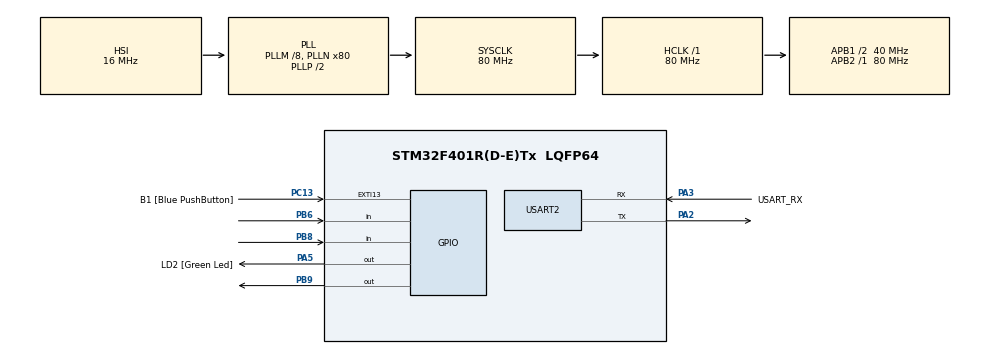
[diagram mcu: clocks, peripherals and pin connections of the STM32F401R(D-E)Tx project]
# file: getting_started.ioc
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Mcu.Family=STM32F4
Mcu.Name=STM32F401R(D-E)Tx
Mcu.Package=LQFP64
NVIC.EXTI15_10_IRQn=true\:0\:0\:false\:false\:true\:true\:true\:true
NVIC.PriorityGroup=NVIC_PRIORITYGROUP_0
PA13.GPIO_Label=TMS
PA13.Mode=Serial_Wire
PA13.Signal=SYS_JTMS-SWDIO
PA14.GPIO_Label=TCK
PA14.Mode=Serial_Wire
PA14.Signal=SYS_JTCK-SWCLK
PA2.Mode=Asynchronous
PA2.Signal=USART2_TX
PA3.GPIO_Label=USART_RX
PA3.GPIO_Mode=GPIO_MODE_AF_PP
PA3.GPIO_PuPd=GPIO_NOPULL
PA3.GPIO_Speed=GPIO_SPEED_FREQ_LOW
PA3.Mode=Asynchronous
PA3.Signal=USART2_RX
PA5.GPIO_Label=LD2 [Green Led]
PA5.GPIO_Mode=GPIO_MODE_OUTPUT_PP
PA5.GPIO_PuPd=GPIO_NOPULL
PA5.GPIO_Speed=GPIO_SPEED_FREQ_LOW
PA5.Signal=GPIO_Output
PB3.GPIO_Label=SWO
PB3.Signal=SYS_JTDO-SWO
PB6.GPIO_PuPd=GPIO_PULLDOWN
PB6.Signal=GPIO_Input
PB8.GPIO_PuPd=GPIO_PULLDOWN
PB8.Signal=GPIO_Input
PB9.Signal=GPIO_Output
PC13-ANTI_TAMP.GPIO_Label=B1 [Blue PushButton]
PC13-ANTI_TAMP.GPIO_ModeDefaultEXTI=GPIO_MODE_IT_FALLING
PC13-ANTI_TAMP.GPIO_PuPd=GPIO_NOPULL
PC13-ANTI_TAMP.Signal=GPXTI13
PC14-OSC32_IN.Mode=LSE-External-Oscillator
PC14-OSC32_IN.Signal=RCC_OSC32_IN
PC15-OSC32_OUT.Mode=LSE-External-Oscillator
PC15-OSC32_OUT.Signal=RCC_OSC32_OUT
PH0\ -\ OSC_IN.Mode=HSE-External-Clock-Source
PH0\ -\ OSC_IN.Signal=RCC_OSC_IN
PH1\ -\ OSC_OUT.Mode=HSE-External-Clock-Source
PH1\ -\ OSC_OUT.Signal=RCC_OSC_OUT
ProjectManager.HeapSize=0x200
ProjectManager.StackSize=0x400
ProjectManager.TargetToolchain=STM32CubeIDE
RCC.48MHZClocksFreq_Value=22857142.85714286
RCC.AHBFreq_Value=80000000
RCC.APB1CLKDivider=RCC_HCLK_DIV2
RCC.APB1Freq_Value=40000000
RCC.APB1TimFreq_Value=80000000
RCC.APB2Freq_Value=80000000
RCC.APB2TimFreq_Value=80000000
RCC.CortexFreq_Value=80000000
RCC.HCLKFreq_Value=80000000
RCC.HSE_VALUE=8000000
RCC.HSI_VALUE=16000000
RCC.PLLM=8
RCC.PLLN=80
RCC.PLLQ=7
RCC.SYSCLKFreq_VALUE=80000000
RCC.SYSCLKSource=RCC_SYSCLKSOURCE_PLLCLK
RCC.VCOOutputFreq_Value=160000000
USART2.VirtualMode=VM_ASYNC
board=NUCLEO-F401RE

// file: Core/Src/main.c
/* USER CODE BEGIN Header */
/**
  ******************************************************************************
  * @file           : main.c
  * @brief          : Main program body
  ******************************************************************************
  * @attention
  *
  * Copyright (c) 2024 STMicroelectronics.
  * All rights reserved.
  *
  * This software is licensed under terms that can be found in the LICENSE file
  * in the root directory of this software component.
  * If no LICENSE file comes with this software, it is provided AS-IS.
  *
  ******************************************************************************
  */
/* USER CODE END Header */
#include "main.h"

/* USER CODE BEGIN PTD */
#define PUTCHAR_PROTOTYPE int __io_putchar(int ch)
/* USER CODE END PTD */

/* USER CODE BEGIN PD */
#define NUM_OF_TASKS 3
/* USER CODE END PD */

UART_HandleTypeDef huart2;

void SystemClock_Config(void);
static void MX_GPIO_Init(void);
static void MX_USART2_UART_Init(void);

int main(void)
{

  /* USER CODE BEGIN 1 */

	GPIO_PinState state;
	uint8_t X = 0;

  /* USER CODE END 1 */

  /* MCU Configuration--------------------------------------------------------*/

  /* Reset of all peripherals, Initializes the Flash interface and the Systick. */
  HAL_Init();

  /* Configure the system clock */
  SystemClock_Config();

  /* Initialize all configured peripherals */
  MX_GPIO_Init();
  MX_USART2_UART_Init();
  /* USER CODE BEGIN 2 */

//  uint8_t task_delay[NUM_OF_TASKS] = {5000, 10000, 15000};
//  uint8_t task_last_run[NUM_OF_TASKS] = {0, 0, HAL_GetTick() + 2000};

  /* USER CODE END 2 */

  /* Infinite loop */
  /* USER CODE BEGIN WHILE */

  uint8_t flag = 0;
  while (1)
  {
	  printf("Hello World! %u \r\n", X);

	  if (HAL_GPIO_ReadPin(GPIOB, GPIO_PIN_8)) {
		  flag = 1;
		  printf("PIN 8 Down\r\n");
	  }
	  if (HAL_GPIO_ReadPin(GPIOB, GPIO_PIN_6)) {
		  flag = 0;
		  printf("PIN 6 Down\r\n");
	  }

	  if (flag) {
		  HAL_GPIO_WritePin(GPIOB, GPIO_PIN_9, GPIO_PIN_SET);
	  } else {
		  HAL_GPIO_WritePin(GPIOB, GPIO_PIN_9, GPIO_PIN_RESET);
	  }

//
//	  HAL_GPIO_WritePin(GPIOA, GPIO_PIN_5, GPIO_PIN_SET);
//	  HAL_Delay(500);
//	  HAL_GPIO_WritePin(GPIOA, GPIO_PIN_5, GPIO_PIN_RESET);
//	  HAL_Delay(500);
//
//	  HAL_Delay(1000);
//	  X++;
    /* USER CODE END WHILE */

  }
}

void SystemClock_Config(void)
{
  RCC_OscInitTypeDef RCC_OscInitStruct = {0};
  RCC_ClkInitTypeDef RCC_ClkInitStruct = {0};

  /** Configure the main internal regulator output voltage
  */
  __HAL_RCC_PWR_CLK_ENABLE();
  __HAL_PWR_VOLTAGESCALING_CONFIG(PWR_REGULATOR_VOLTAGE_SCALE2);

  /** Initializes the RCC Oscillators according to the specified parameters
  * in the RCC_OscInitTypeDef structure.
  */
  RCC_OscInitStruct.OscillatorType = RCC_OSCILLATORTYPE_HSI;
  RCC_OscInitStruct.HSIState = RCC_HSI_ON;
  RCC_OscInitStruct.HSICalibrationValue = RCC_HSICALIBRATION_DEFAULT;
  RCC_OscInitStruct.PLL.PLLState = RCC_PLL_ON;
  RCC_OscInitStruct.PLL.PLLSource = RCC_PLLSOURCE_HSI;
  RCC_OscInitStruct.PLL.PLLM = 8;
  RCC_OscInitStruct.PLL.PLLN = 80;
  RCC_OscInitStruct.PLL.PLLP = RCC_PLLP_DIV2;
  RCC_OscInitStruct.PLL.PLLQ = 7;
  if (HAL_RCC_OscConfig(&RCC_OscInitStruct) != HAL_OK)
  {
    Error_Handler();
  }

  /** Initializes the CPU, AHB and APB buses clocks
  */
  RCC_ClkInitStruct.ClockType = RCC_CLOCKTYPE_HCLK|RCC_CLOCKTYPE_SYSCLK
                              |RCC_CLOCKTYPE_PCLK1|RCC_CLOCKTYPE_PCLK2;
  RCC_ClkInitStruct.SYSCLKSource = RCC_SYSCLKSOURCE_PLLCLK;
  RCC_ClkInitStruct.AHBCLKDivider = RCC_SYSCLK_DIV1;
  RCC_ClkInitStruct.APB1CLKDivider = RCC_HCLK_DIV2;
  RCC_ClkInitStruct.APB2CLKDivider = RCC_HCLK_DIV1;

  if (HAL_RCC_ClockConfig(&RCC_ClkInitStruct, FLASH_LATENCY_2) != HAL_OK)
  {
    Error_Handler();
  }
}

static void MX_USART2_UART_Init(void)
{

  huart2.Instance = USART2;
  huart2.Init.BaudRate = 115200;
  huart2.Init.WordLength = UART_WORDLENGTH_8B;
  huart2.Init.StopBits = UART_STOPBITS_1;
  huart2.Init.Parity = UART_PARITY_NONE;
  huart2.Init.Mode = UART_MODE_TX_RX;
  huart2.Init.HwFlowCtl = UART_HWCONTROL_NONE;
  huart2.Init.OverSampling = UART_OVERSAMPLING_16;
  if (HAL_UART_Init(&huart2) != HAL_OK)
  {
    Error_Handler();
  }

}

static void MX_GPIO_Init(void)
{
  GPIO_InitTypeDef GPIO_InitStruct = {0};

  /* GPIO Ports Clock Enable */
  __HAL_RCC_GPIOC_CLK_ENABLE();
  __HAL_RCC_GPIOH_CLK_ENABLE();
  __HAL_RCC_GPIOA_CLK_ENABLE();
  __HAL_RCC_GPIOB_CLK_ENABLE();

  /*Configure GPIO pin Output Level */
  HAL_GPIO_WritePin(LD2_GPIO_Port, LD2_Pin, GPIO_PIN_RESET);

  /*Configure GPIO pin Output Level */
  HAL_GPIO_WritePin(GPIOB, GPIO_PIN_9, GPIO_PIN_RESET);

  /*Configure GPIO pin : B1_Pin */
  GPIO_InitStruct.Pin = B1_Pin;
  GPIO_InitStruct.Mode = GPIO_MODE_IT_FALLING;
  GPIO_InitStruct.Pull = GPIO_NOPULL;
  HAL_GPIO_Init(B1_GPIO_Port, &GPIO_InitStruct);

  /*Configure GPIO pin : LD2_Pin */
  GPIO_InitStruct.Pin = LD2_Pin;
  GPIO_InitStruct.Mode = GPIO_MODE_OUTPUT_PP;
  GPIO_InitStruct.Pull = GPIO_NOPULL;
  GPIO_InitStruct.Speed = GPIO_SPEED_FREQ_LOW;
  HAL_GPIO_Init(LD2_GPIO_Port, &GPIO_InitStruct);

  /*Configure GPIO pins : PB6 PB8 */
  GPIO_InitStruct.Pin = GPIO_PIN_6|GPIO_PIN_8;
  GPIO_InitStruct.Mode = GPIO_MODE_INPUT;
  GPIO_InitStruct.Pull = GPIO_PULLDOWN;
  HAL_GPIO_Init(GPIOB, &GPIO_InitStruct);

  /*Configure GPIO pin : PB9 */
  GPIO_InitStruct.Pin = GPIO_PIN_9;
  GPIO_InitStruct.Mode = GPIO_MODE_OUTPUT_PP;
  GPIO_InitStruct.Pull = GPIO_NOPULL;
  GPIO_InitStruct.Speed = GPIO_SPEED_FREQ_LOW;
  HAL_GPIO_Init(GPIOB, &GPIO_InitStruct);

  /* EXTI interrupt init*/
  HAL_NVIC_SetPriority(EXTI15_10_IRQn, 0, 0);
  HAL_NVIC_EnableIRQ(EXTI15_10_IRQn);

}

/* USER CODE BEGIN 4 */
void HAL_GPIO_EXTI_Callback(uint16_t GPIO_PIN) {
	printf("Test button press trigger callback\r\n");
	HAL_GPIO_TogglePin(GPIOA, GPIO_PIN_5);
}

/**
  * @brief  Retargets the C library printf function to the USART.
  *   None
  * @retval None
  */
PUTCHAR_PROTOTYPE
{
  /* Place your implementation of fputc here */
  /* e.g. write a character to the USART1 and Loop until the end of transmission */
  HAL_UART_Transmit(&huart2, (uint8_t *)&ch, 1, 0xFFFF);

  return ch;
}
/* USER CODE END 4 */

void Error_Handler(void)
{
  __disable_irq();
  while (1)
  {
  }
}
